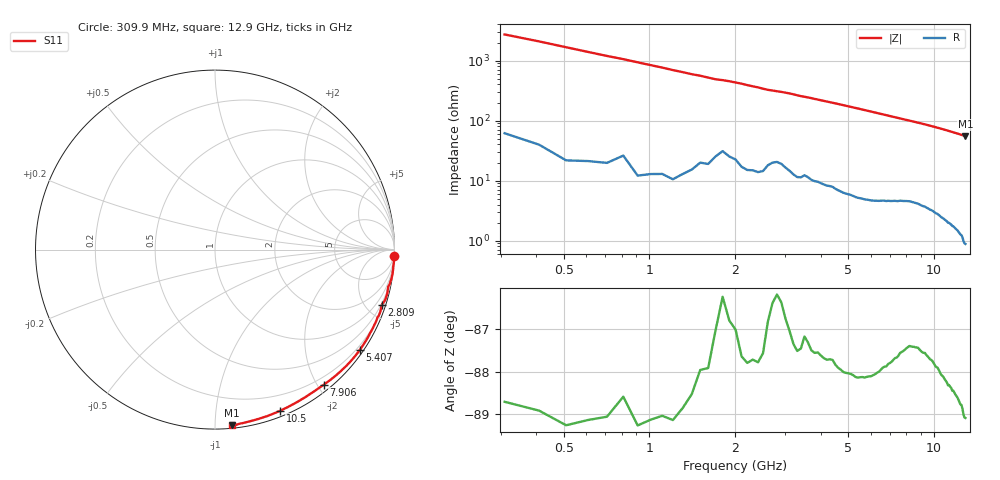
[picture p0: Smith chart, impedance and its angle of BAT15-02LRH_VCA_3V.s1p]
! Infineon Technologies  Discrete & RF Semiconductors
! BAT15-02LRH
! VCA = 3 V
! One-Port S-Parameters
# Hz  S  MA  R  50
!f  S11
!Hz  Mag  Ang
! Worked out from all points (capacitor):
!   127 points, 309.9 MHz to 12.9 GHz, reference 50 ohm
!   read as one part to ground: C = 187 fF near 309.9 MHz
!   lowest |Z| = 55.1 ohm at 12.9 GHz (marker M1)
!   S11 on the Smith chart (normalised r, x): 309.9 MHz: 1, -54; 2.809 GHz: 0.41, -6.16; 5.407 GHz: 0.10, -3.18; 7.906 GHz: 0.09, -2.08; 10.5 GHz: 0.05, -1.48; 12.9 GHz: 0.02, -1.10
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3.0985e8  0.9992 -2.1
1.2094e9  0.9978 -8.2
1.6092e9  0.9931 -11.0
1.70915e9  0.9895 -11.7
1.8091e9  0.9864 -12.1
1.90905e9  0.9879 -12.6
2.10895e9  0.9902 -13.8
2.4088e9  0.9894 -15.9
2.6087e9  0.9836 -17.4
2.8086e9  0.9792 -18.4
3.2084e9  0.9838 -20.6
3.4083e9  0.9834 -22.1
3.50825e9  0.9812 -22.6
3.70815e9  0.9825 -23.8
4.2079e9  0.9821 -27.1
5.10745e9  0.9817 -32.9
5.4073e9  0.9816 -34.9
6.10695e9  0.9789 -39.6
6.6067e9  0.9754 -42.9
7.10645e9  0.9722 -46.2
7.90605e9  0.9663 -51.3
8.2059e9  0.9643 -53.2
9.10545e9  0.964 -58.8
9.8051e9  0.9651 -63.3
1.050475e10  0.9684 -67.9
1.14043e10  0.9727 -74.1
1.210395e10  0.9764 -78.8
1.290355e10  0.9842 -84.4
